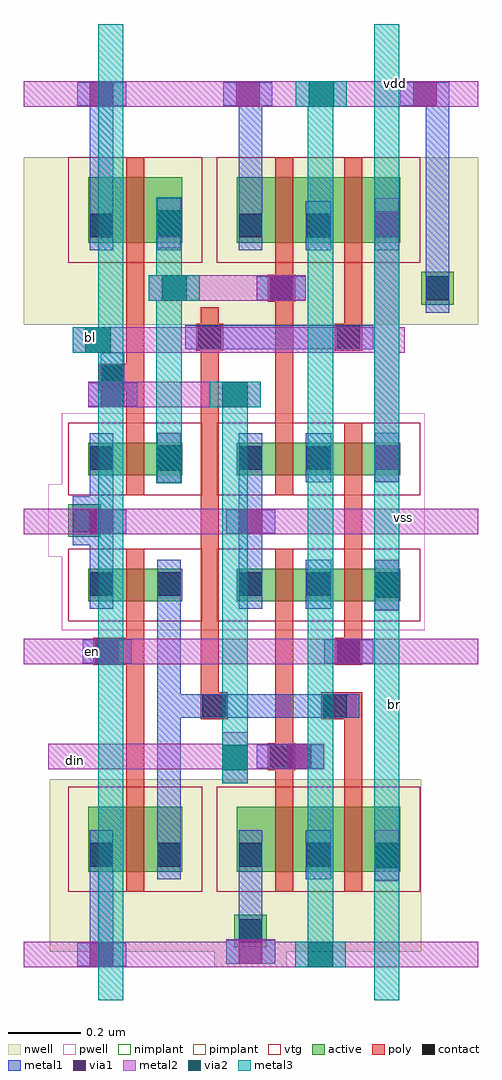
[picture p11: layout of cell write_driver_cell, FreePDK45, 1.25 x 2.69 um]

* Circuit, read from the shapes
.subckt write_driver_cell bl br din en vdd vss
M1 n1 en vss vss nfet w=0.09u l=0.05u
M2 n2 din vss vss nfet w=0.09u l=0.05u
M3 n3 din vss vss nfet w=0.09u l=0.05u
M4 n4 n2 vss vss nfet w=0.09u l=0.05u
M5 br en n3 vss nfet w=0.09u l=0.05u
M6 bl en n4 vss nfet w=0.09u l=0.05u
M7 n1 en vdd vdd pfet w=0.18u l=0.05u
M8 n2 din vdd vdd pfet w=0.18u l=0.05u
M9 n5 din vdd vdd pfet w=0.18u l=0.05u
M10 n6 n2 vdd vdd pfet w=0.18u l=0.05u
M11 br n1 n5 vdd pfet w=0.18u l=0.05u
M12 bl n1 n6 vdd pfet w=0.18u l=0.05u
.ends

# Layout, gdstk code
from math import pi, radians
import gdstk
lib = gdstk.Library(unit=1e-6, precision=5e-10)
def R(c, l, rs):  # rectangles x0, y0, x1, y1
    for r in rs: c.add(gdstk.rectangle(r[:2], r[2:], *l))
active = (1, 0)
pwell = (2, 0)
nwell = (3, 0)
nimplant = (4, 0)
pimplant = (5, 0)
vtg = (6, 0)
poly = (9, 0)
contact = (10, 0)
metal1 = (11, 0)
via1 = (12, 0)
metal2 = (13, 0)
via2 = (14, 0)
metal3 = (15, 0)

dcont_28 = lib.new_cell('dcont_28')
R(dcont_28, active, [(-0.0375,0.03,0.0375,0.105)])
R(dcont_28, contact, [(-0.0325,0.035,0.0325,0.1)])
R(dcont_28, metal1, [(-0.0325,0,0.0325,0.135)])

nmos_vtg_14 = lib.new_cell('nmos_vtg_14')
R(nmos_vtg_14, active, [(-0.105,0,0.155,0.09), (-0.105,0,-0.03,0.09), (0.08,0,0.155,0.09), (-0.105,0.01,-0.03,0.085), (0.08,0.01,0.155,0.085)])
R(nmos_vtg_14, pwell, [(-0.16,-0.055,0.21,0.145)])
R(nmos_vtg_14, nimplant, [(-0.105,0,0.155,0.09)])
R(nmos_vtg_14, vtg, [(-0.16,-0.055,0.21,0.145)])
R(nmos_vtg_14, poly, [(0,-0.055,0.05,0), (0,-0.055,0.05,0.145), (0,0.09,0.05,0.145)])
nmos_vtg_14.add(gdstk.Reference(dcont_28, (0.1175,-0.02)))
nmos_vtg_14.add(gdstk.Reference(dcont_28, (-0.0675,-0.02)))
nmos_vtg_14.add(gdstk.Label('l = 0.05', (0.06,0.045), layer=239, texttype=0))
nmos_vtg_14.add(gdstk.Label('w = 0.09', (0.025,0.155), layer=239, texttype=0))

m2_m1_viac = lib.new_cell('M2_M1_viaC')
R(m2_m1_viac, metal1, [(-0.0325,-0.0675,0.0325,0.0675)])
R(m2_m1_viac, via1, [(-0.0325,-0.0325,0.0325,0.0325)])
R(m2_m1_viac, metal2, [(-0.035,-0.0675,0.035,0.0675)])

pmos_vtg_15 = lib.new_cell('pmos_vtg_15')
R(pmos_vtg_15, active, [(-0.105,0,0.155,0.18), (-0.105,0,-0.03,0.18), (0.08,0,0.155,0.18), (-0.105,0.01,-0.03,0.085), (0.08,0.01,0.155,0.085)])
R(pmos_vtg_15, nwell, [(-0.16,-0.055,0.21,0.235)])
R(pmos_vtg_15, pimplant, [(-0.105,0,0.155,0.18)])
R(pmos_vtg_15, vtg, [(-0.16,-0.055,0.21,0.235)])
R(pmos_vtg_15, poly, [(0,-0.055,0.05,0), (0,-0.055,0.05,0.235), (0,0.18,0.05,0.235)])
pmos_vtg_15.add(gdstk.Reference(dcont_28, (0.1175,-0.02)))
pmos_vtg_15.add(gdstk.Reference(dcont_28, (-0.0675,-0.02)))
pmos_vtg_15.add(gdstk.Label('l = 0.05', (0.06,0.09), layer=239, texttype=0))
pmos_vtg_15.add(gdstk.Label('w = 0.18', (0.025,0.245), layer=239, texttype=0))

m3_m2_viab = lib.new_cell('M3_M2_viaB')
R(m3_m2_viab, metal2, [(-0.035,-0.07,0.035,0.07)])
R(m3_m2_viab, via2, [(-0.035,-0.035,0.035,0.035)])
R(m3_m2_viab, metal3, [(-0.035,-0.07,0.035,0.07)])

pcont_0 = lib.new_cell('pcont_0')
R(pcont_0, poly, [(-0.0375,-0.0375,0.0375,0.0375)])
R(pcont_0, contact, [(-0.0325,-0.0325,0.0325,0.0325)])
R(pcont_0, metal1, [(-0.0325,-0.0675,0.0325,0.0675)])

m2_m1_viab = lib.new_cell('M2_M1_viaB')
R(m2_m1_viab, metal1, [(-0.0675,-0.0325,0.0675,0.0325)])
R(m2_m1_viab, via1, [(-0.0325,-0.0325,0.0325,0.0325)])
R(m2_m1_viab, metal2, [(-0.0675,-0.035,0.0675,0.035)])

m3_m2_viac = lib.new_cell('M3_M2_viaC')
R(m3_m2_viac, metal2, [(-0.07,-0.035,0.07,0.035)])
R(m3_m2_viac, via2, [(-0.035,-0.035,0.035,0.035)])
R(m3_m2_viac, metal3, [(-0.07,-0.035,0.07,0.035)])

pmos_vtg_26 = lib.new_cell('pmos_vtg_26')
R(pmos_vtg_26, active, [(-0.105,0,0.155,0.18), (-0.105,0,-0.03,0.18), (0.08,0,0.155,0.18), (-0.105,0.01,-0.03,0.085), (0.08,0.01,0.155,0.085)])
R(pmos_vtg_26, nwell, [(-0.16,-0.055,0.21,0.235)])
R(pmos_vtg_26, pimplant, [(-0.105,0,0.155,0.18)])
R(pmos_vtg_26, vtg, [(-0.16,-0.055,0.21,0.235)])
R(pmos_vtg_26, poly, [(0,-0.055,0.05,0), (0,-0.055,0.05,0.235), (0,0.18,0.05,0.235)])
pmos_vtg_26.add(gdstk.Reference(dcont_28, (0.1175,-0.02)))
pmos_vtg_26.add(gdstk.Reference(dcont_28, (-0.0675,-0.02)))
pmos_vtg_26.add(gdstk.Label('l = 0.05', (0.06,0.09), layer=239, texttype=0))
pmos_vtg_26.add(gdstk.Label('w = 0.18', (0.025,0.245), layer=239, texttype=0))

ntap_0 = lib.new_cell('NTAP_0')
R(ntap_0, active, [(-0.045,-0.045,0.045,0.045)])
R(ntap_0, nwell, [(-0.1,-0.1,0.1,0.1)])
R(ntap_0, nimplant, [(-0.045,-0.045,0.045,0.045)])
R(ntap_0, contact, [(-0.0325,-0.0325,0.0325,0.0325)])
R(ntap_0, metal1, [(-0.0325,-0.0675,0.0325,0.0675)])

ptap_1 = lib.new_cell('PTAP_1')
R(ptap_1, active, [(-0.045,-0.045,0.045,0.045)])
R(ptap_1, pwell, [(-0.1,-0.1,0.1,0.1)])
R(ptap_1, pimplant, [(-0.045,-0.045,0.045,0.045)])
R(ptap_1, contact, [(-0.0325,-0.0325,0.0325,0.0325)])
R(ptap_1, metal1, [(-0.0325,-0.0675,0.0325,0.0675)])

write_driver_cell = lib.new_cell('write_driver_cell')
R(write_driver_cell, pwell, [(0.105,0.8925,1.105,1.49)])
R(write_driver_cell, nwell, [(0.0725,0.0075,1.095,0.4825), (0,1.735,1.2525,2.195)])
R(write_driver_cell, poly, [(0.2825,0.4475,0.3325,0.92), (0.6925,0.4525,0.7425,0.92), (0.8825,0.4625,0.9325,0.7225), (0.4875,0.7,0.5375,1.7825), (0.2675,0.7975,0.2825,0.8725), (0.8825,0.8725,0.9325,0.9225), (0.8825,1.1025,0.9325,1.265), (0.2825,1.465,0.3325,1.905), (0.6925,1.465,0.7425,1.7975), (0.8825,1.7175,0.9325,1.905), (0.6925,1.8675,0.7425,1.905)])
R(write_driver_cell, metal1, [(0.1825,0.01,0.2475,0.2075), (0.5925,0.0525,0.6575,0.2425), (0.3675,0.3075,0.4325,0.96), (0.3675,0.6525,0.79,0.7175), (0.5925,1.0775,0.6575,1.2275), (0.1825,1.0875,0.2475,1.245), (0.1825,1.175,0.2475,1.305), (0.5925,1.175,0.6575,1.305), (0.5775,1.6675,0.8375,1.7325), (1.1075,1.89,1.1725,2.3725), (0.1825,2.075,0.2475,2.3725), (0.5925,2.075,0.6575,2.14), (0.5925,2.075,0.6575,2.3725)])
R(write_driver_cell, metal2, [(0,-0.035,1.2525,0.035), (0.0675,0.51,0.7025,0.58), (0,0.8,1.2525,0.87), (0,1.1575,1.2525,1.2275), (0.965,1.3475,1.035,2.05), (0.21,1.5075,0.6175,1.5775), (0.205,1.6575,1.05,1.7275), (0.3675,1.8,0.7025,1.87), (0,2.335,1.2525,2.405)])
R(write_driver_cell, metal3, [(0.205,-0.125,0.275,2.5625), (0.965,-0.125,1.035,2.5625), (0.7825,-0.0325,0.8525,2.405), (0.5475,0.5625,0.6175,1.5225), (0.365,1.305,0.435,2.0525)])
write_driver_cell.add(gdstk.Reference(nmos_vtg_14, (0.8825,0.9725)))
write_driver_cell.add(gdstk.Reference(nmos_vtg_14, (0.6925,0.9725)))
write_driver_cell.add(gdstk.Reference(nmos_vtg_14, (0.2825,1.32)))
write_driver_cell.add(gdstk.Reference(nmos_vtg_14, (0.2825,0.9725)))
write_driver_cell.add(gdstk.Reference(nmos_vtg_14, (0.6925,1.32)))
write_driver_cell.add(gdstk.Reference(nmos_vtg_14, (0.8825,1.32)))
write_driver_cell.add(gdstk.Reference(m2_m1_viac, (0.4,2.015)))
write_driver_cell.add(gdstk.Reference(m2_m1_viac, (1,2.015)))
write_driver_cell.add(gdstk.Reference(m2_m1_viac, (1,1.37)))
write_driver_cell.add(gdstk.Reference(m2_m1_viac, (1,0.2725)))
write_driver_cell.add(gdstk.Reference(m2_m1_viac, (1,1.0175)))
write_driver_cell.add(gdstk.Reference(m2_m1_viac, (0.4,1.3675)))
write_driver_cell.add(gdstk.Reference(pmos_vtg_15, (0.2825,0.2275)))
write_driver_cell.add(gdstk.Reference(pmos_vtg_15, (0.6925,0.2275)))
write_driver_cell.add(gdstk.Reference(pmos_vtg_15, (0.8825,0.2275)))
write_driver_cell.add(gdstk.Reference(pmos_vtg_15, (0.2825,1.96)))
write_driver_cell.add(gdstk.Reference(pmos_vtg_15, (0.8825,1.96)))
write_driver_cell.add(gdstk.Reference(m3_m2_viab, (0.205,1.6925), rotation=pi/2))
write_driver_cell.add(gdstk.Reference(m3_m2_viab, (0.4,2.015)))
write_driver_cell.add(gdstk.Reference(m3_m2_viab, (1,0.2725)))
write_driver_cell.add(gdstk.Reference(m3_m2_viab, (1,1.0175)))
write_driver_cell.add(gdstk.Reference(m3_m2_viab, (0.4,1.3675)))
write_driver_cell.add(gdstk.Reference(m3_m2_viab, (0.5825,0.5425)))
write_driver_cell.add(gdstk.Reference(m3_m2_viab, (0.5825,1.5425), rotation=pi/2))
write_driver_cell.add(gdstk.Reference(pcont_0, (0.71,0.545), rotation=pi/2))
write_driver_cell.add(gdstk.Reference(pcont_0, (0.8575,0.685), rotation=pi/2))
write_driver_cell.add(gdstk.Reference(pcont_0, (0.525,0.685), rotation=pi/2))
write_driver_cell.add(gdstk.Reference(pcont_0, (0.895,0.835), rotation=pi/2))
write_driver_cell.add(gdstk.Reference(pcont_0, (0.895,1.7), rotation=pi/2))
write_driver_cell.add(gdstk.Reference(pcont_0, (0.5125,1.7), rotation=pi/2))
write_driver_cell.add(gdstk.Reference(pcont_0, (0.245,1.59)))
write_driver_cell.add(gdstk.Reference(pcont_0, (0.23,0.835), rotation=pi/2))
write_driver_cell.add(gdstk.Reference(pcont_0, (0.71,1.835), rotation=pi/2))
write_driver_cell.add(gdstk.Reference(m2_m1_viab, (0.6175,2.37)))
write_driver_cell.add(gdstk.Reference(m2_m1_viab, (0.625,0.0075)))
write_driver_cell.add(gdstk.Reference(m2_m1_viab, (0.215,0)))
write_driver_cell.add(gdstk.Reference(m2_m1_viab, (0.76,0.545)))
write_driver_cell.add(gdstk.Reference(m2_m1_viab, (0.895,0.835)))
write_driver_cell.add(gdstk.Reference(m2_m1_viab, (1.105,2.37)))
write_driver_cell.add(gdstk.Reference(m2_m1_viab, (0.23,0.835)))
write_driver_cell.add(gdstk.Reference(m2_m1_viab, (0.71,1.835)))
write_driver_cell.add(gdstk.Reference(m2_m1_viab, (0.215,2.37)))
write_driver_cell.add(gdstk.Reference(m2_m1_viab, (0.625,1.1925)))
write_driver_cell.add(gdstk.Reference(m2_m1_viab, (0.245,1.5425)))
write_driver_cell.add(gdstk.Reference(m2_m1_viab, (0.215,1.1925)))
write_driver_cell.add(gdstk.Reference(m3_m2_viac, (0.415,1.835)))
write_driver_cell.add(gdstk.Reference(m3_m2_viac, (0.8175,0)))
write_driver_cell.add(gdstk.Reference(m3_m2_viac, (0.82,2.37)))
write_driver_cell.add(gdstk.Reference(pmos_vtg_26, (0.6925,1.96)))
write_driver_cell.add(gdstk.Reference(ntap_0, (0.625,0.065)))
write_driver_cell.add(gdstk.Reference(ntap_0, (1.14,1.835)))
write_driver_cell.add(gdstk.Reference(ptap_1, (0.1675,1.195)))
write_driver_cell.add(gdstk.Label('en', (0.19,0.835), layer=13, texttype=0))
write_driver_cell.add(gdstk.Label('din', (0.1425,0.535), layer=13, texttype=0))
write_driver_cell.add(gdstk.Label('vss', (1.0475,1.2025), layer=13, texttype=0))
write_driver_cell.add(gdstk.Label('vdd', (1.025,2.3975), layer=13, texttype=0))
write_driver_cell.add(gdstk.Label('br', (1.0225,0.6875), layer=15, texttype=0))
write_driver_cell.add(gdstk.Label('bl', (0.185,1.7), layer=15, texttype=0))

lib.write_gds('write_driver_cell.gds')
